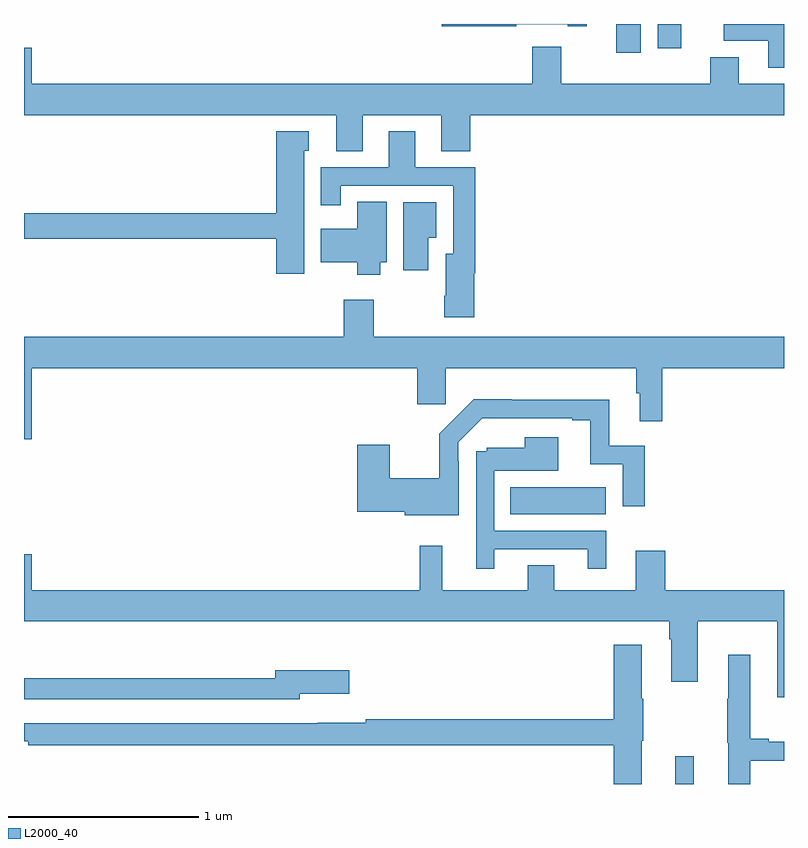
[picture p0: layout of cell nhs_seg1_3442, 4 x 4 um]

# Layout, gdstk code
import gdstk
lib = gdstk.Library(unit=1e-6, precision=1e-09)
def R(c, l, rs):  # rectangles x0, y0, x1, y1
    for r in rs: c.add(gdstk.rectangle(r[:2], r[2:], *l))
def P(c, l, *ps):  # polygons
    for p in ps: c.add(gdstk.Polygon(p, *l))
L2000_40 = (2000, 40)

nhs_seg1_3442 = lib.new_cell('nhs_seg1_3442')
R(nhs_seg1_3442, L2000_40, [(300.428,560.199,300.525,560.344), (299.56,561.62,300.061,561.76), (300.116,564.048,300.247,564.199), (300.335,564.072,300.46,564.199)])
P(nhs_seg1_3442, L2000_40, [(299.591,564.198),(299.861,564.198),(299.861,564.186),(299.961,564.186),(299.961,564.199),(299.198,564.199),(299.198,564.186),(299.591,564.186)],
  [(301,564.199),(300.682,564.199),(300.682,564.11),(300.917,564.11),(300.917,563.97),(301,563.97)],
  [(298.783,563.72),(299.195,563.72),(299.195,563.53),(299.348,563.53),(299.348,563.72),(301,563.72),(301,563.884),(300.763,563.884),(300.763,564.025),(300.611,564.025),(300.611,563.884),(299.827,563.884),(299.827,564.079),(299.675,564.079),(299.675,563.884),(297.04,563.884),(297.04,564.073),(297,564.073),(297,563.72),(298.643,563.72),(298.643,563.53),(298.783,563.53)],
  [(299.369,562.886),(299.375,562.886),(299.375,563.445),(299.059,563.445),(299.059,563.635),(298.919,563.635),(298.919,563.445),(298.562,563.445),(298.562,563.244),(298.666,563.244),(298.666,563.349),(299.259,563.349),(299.259,562.99),(299.219,562.99),(299.219,562.768),(299.212,562.768),(299.212,562.656),(299.369,562.656)],
  [(298.474,563.532),(298.498,563.532),(298.498,563.635),(298.328,563.635),(298.328,563.204),(297,563.204),(297,563.068),(298.328,563.068),(298.328,562.884),(298.474,562.884)],
  [(298.876,562.946),(298.909,562.946),(298.909,563.264),(298.754,563.264),(298.754,563.122),(298.562,563.122),(298.562,562.946),(298.754,562.946),(298.754,562.88),(298.876,562.88)],
  [(299.128,563.075),(299.17,563.075),(299.17,563.26),(298.997,563.26),(298.997,562.902),(299.128,562.902)],
  [(297.04,562.388),(299.069,562.388),(299.069,562.197),(299.219,562.197),(299.219,562.388),(300.223,562.388),(300.223,562.256),(300.242,562.256),(300.242,562.107),(300.359,562.107),(300.359,562.388),(301,562.388),(301,562.552),(298.842,562.552),(298.842,562.747),(298.682,562.747),(298.682,562.552),(297,562.552),(297,562.014),(297.04,562.014)],
  [(299.289,561.899),(299.286,561.899),(299.286,561.999),(299.412,562.125),(299.885,562.125),(299.885,562.113),(299.981,562.113),(299.981,561.882),(300.15,561.882),(300.15,561.66),(300.266,561.66),(300.266,561.978),(300.079,561.978),(300.079,562.222),(299.567,562.222),(299.567,562.225),(299.368,562.225),(299.186,562.042),(299.186,561.808),(298.924,561.808),(298.924,561.985),(298.754,561.985),(298.754,561.632),(299.004,561.632),(299.004,561.614),(299.289,561.614)],
  [(299.476,561.435),(299.966,561.435),(299.966,561.333),(300.064,561.333),(300.064,561.531),(299.475,561.531),(299.475,561.848),(299.812,561.848),(299.812,562.024),(299.636,562.024),(299.636,561.97),(299.436,561.97),(299.436,561.951),(299.379,561.951),(299.379,561.333),(299.476,561.333)],
  [(301,561.22),(300.374,561.22),(300.374,561.427),(300.221,561.427),(300.221,561.22),(299.791,561.22),(299.791,561.35),(299.651,561.35),(299.651,561.22),(299.201,561.22),(299.201,561.454),(299.083,561.454),(299.083,561.22),(297.04,561.22),(297.04,561.409),(297,561.409),(297,561.056),(300.395,561.056),(300.395,560.96),(300.407,560.96),(300.407,560.736),(300.547,560.736),(300.547,561.056),(300.965,561.056),(300.965,560.655),(301,560.655)],
  [(300.25,560.427),(300.258,560.427),(300.258,560.648),(300.25,560.648),(300.25,560.932),(300.104,560.932),(300.104,560.54),(298.798,560.54),(298.798,560.521),(298.546,560.521),(298.546,560.52),(297,560.52),(297,560.423),(297.022,560.423),(297.022,560.404),(300.104,560.404),(300.104,560.199),(300.25,560.199)],
  [(300.823,560.321),(301,560.321),(301,560.421),(300.919,560.421),(300.919,560.438),(300.823,560.438),(300.823,560.878),(300.707,560.878),(300.707,560.648),(300.7,560.648),(300.7,560.415),(300.707,560.415),(300.707,560.199),(300.823,560.199)],
  [(298.45,560.675),(298.711,560.675),(298.711,560.797),(298.322,560.797),(298.322,560.755),(297,560.755),(297,560.646),(298.45,560.646)])

lib.write_gds('nhs_seg1_3442.gds')
